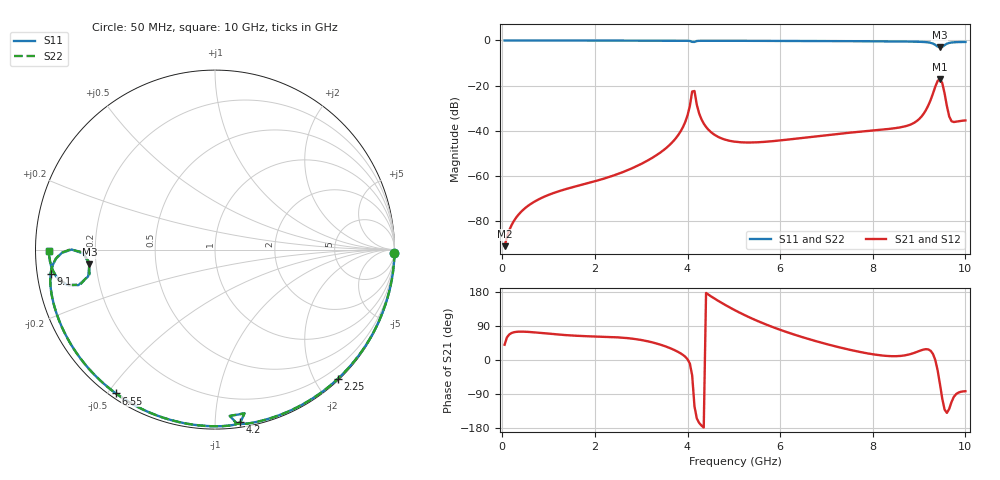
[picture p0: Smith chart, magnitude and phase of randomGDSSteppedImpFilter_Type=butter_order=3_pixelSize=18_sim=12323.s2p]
! freq	dB(S11)	phase(S11)	dB(S12)	phase(S12)
!  dB(S21)	phase(S21)	dB(S22)	phase(S22)
!S-par simulation data
#  GHz  S  DB  R 50
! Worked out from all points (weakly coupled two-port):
!   200 points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, 50 MHz to 10 GHz, reference 50 ohm
!   highest |S21| = -17.10 dB at 9.45 GHz (marker M1); lowest = -91.1 dB at 50 MHz (marker M2)
!   lowest |S11| = -3.0 dB at 9.45 GHz (marker M3), VSWR 5.77, Z = 8.69 - j2.82 ohm
!   |S11| at or under -10 dB: nowhere
!   |S22| runs from -3.0 to 0.0 dB; largest |S21 - S12| = 0
!   S11 on the Smith chart (normalised r, x): 50 MHz: open; 2.25 GHz: 0.02, -2.33; 4.2 GHz: 0.03, -1.16; 6.55 GHz: 0.02, -0.53; 9.1 GHz: 0.04, -0.07; 10 GHz: 0.04, -0.00
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0.05  -0.00 -1.1  -91.06 40.3  -91.06 40.3  -0.00 -1.1
0.25  -0.00 -5.3  -79.92 73.2  -79.92 73.2  -0.00 -5.3
0.85  -0.02 -17.9  -69.68 71.2  -69.68 71.2  -0.02 -17.9
1.75  -0.05 -36.5  -63.69 63.1  -63.69 63.1  -0.05 -36.5
2.25  -0.06 -46.5  -60.80 61.1  -60.80 61.1  -0.06 -46.6
3.4  -0.09 -69.0  -49.81 41.1  -49.81 41.1  -0.09 -69.1
3.9  -0.12 -78.9  -38.40 13.6  -38.40 13.6  -0.12 -78.9
4  -0.15 -81.3  -33.18 2.0  -33.18 2.0  -0.15 -81.4
4.1  -0.62 -84.9  -22.59 -40.7  -22.59 -40.7  -0.63 -84.9
4.15  -0.65 -79.8  -22.37 -122.4  -22.37 -122.4  -0.66 -79.8
4.2  -0.24 -81.6  -28.43 -154.2  -28.43 -154.2  -0.25 -81.6
4.3  -0.15 -84.5  -34.87 -172.9  -34.87 -172.9  -0.15 -84.5
4.5  -0.14 -88.6  -40.47 168.5  -40.47 168.5  -0.14 -88.6
5.05  -0.15 -98.6  -44.88 129.6  -44.88 129.6  -0.15 -98.7
6.55  -0.24 -124.5  -42.97 57.7  -42.97 57.7  -0.24 -124.6
6.7  -0.25 -127.1  -42.62 52.3  -42.62 52.3  -0.25 -127.1
8.35  -0.41 -155.6  -39.15 10.4  -39.15 10.4  -0.41 -155.6
8.85  -0.51 -165.4  -36.92 16.9  -36.92 16.9  -0.51 -165.5
9.1  -0.67 -171.6  -32.39 27.7  -32.39 27.7  -0.67 -171.7
9.45  -3.04 -173.3  -17.10 -63.1  -17.10 -63.1  -3.03 -174.5
9.7  -0.91 -170.8  -35.75 -110.9  -35.75 -110.9  -0.93 -170.7
10  -0.66 -179.6  -35.41 -82.4  -35.41 -82.4  -0.67 -179.6
